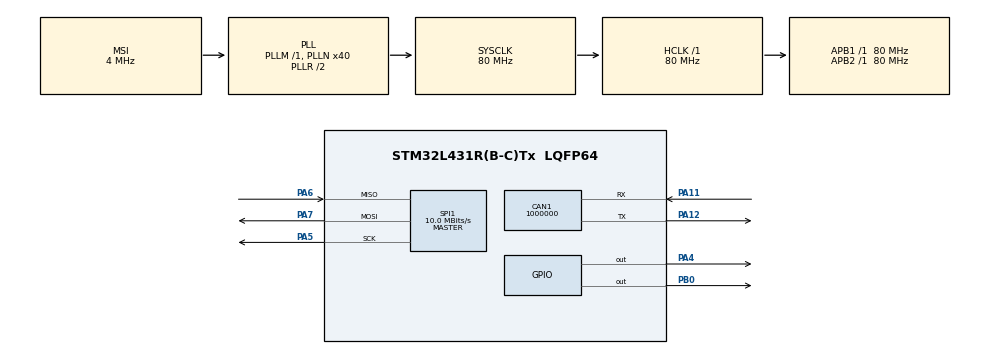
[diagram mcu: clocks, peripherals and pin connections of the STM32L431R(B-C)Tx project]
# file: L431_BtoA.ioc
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CAN1.BS1=CAN_BS1_2TQ
CAN1.BS2=CAN_BS2_2TQ
CAN1.CalculateBaudRate=1000000
CAN1.CalculateTimeBit=1000
CAN1.CalculateTimeQuantum=200.0
LPTIM1.ClockPrescaler=LPTIM_PRESCALER_DIV1
Mcu.Family=STM32L4
Mcu.Name=STM32L431R(B-C)Tx
Mcu.Package=LQFP64
NVIC.LPTIM1_IRQn=true\:0\:0\:false\:false\:true\:true\:true\:true
NVIC.PriorityGroup=NVIC_PRIORITYGROUP_4
NVIC.TIM2_IRQn=true\:0\:0\:false\:false\:true\:true\:true\:true
NVIC.TIM6_DAC_IRQn=true\:0\:0\:false\:false\:true\:true\:true\:true
NVIC.TIM7_IRQn=true\:0\:0\:false\:false\:true\:true\:true\:true
PA11.Mode=CAN_Activate
PA11.Signal=CAN1_RX
PA12.Mode=CAN_Activate
PA12.Signal=CAN1_TX
PA13\ (JTMS-SWDIO).Mode=Serial_Wire
PA13\ (JTMS-SWDIO).Signal=SYS_JTMS-SWDIO
PA14\ (JTCK-SWCLK).Mode=Serial_Wire
PA14\ (JTCK-SWCLK).Signal=SYS_JTCK-SWCLK
PA4.Signal=GPIO_Output
PA5.Mode=Full_Duplex_Master
PA5.Signal=SPI1_SCK
PA6.Mode=Full_Duplex_Master
PA6.Signal=SPI1_MISO
PA7.Mode=Full_Duplex_Master
PA7.Signal=SPI1_MOSI
PB0.Signal=GPIO_Output
PH0-OSC_IN\ (PH0).Mode=HSE-External-Oscillator
PH0-OSC_IN\ (PH0).Signal=RCC_OSC_IN
PH1-OSC_OUT\ (PH1).Mode=HSE-External-Oscillator
PH1-OSC_OUT\ (PH1).Signal=RCC_OSC_OUT
ProjectManager.HeapSize=0x200
ProjectManager.StackSize=0x400
ProjectManager.TargetToolchain=MDK-ARM V5.32
RCC.ADCFreq_Value=16000000
RCC.AHBFreq_Value=80000000
RCC.APB1Freq_Value=80000000
RCC.APB1TimFreq_Value=80000000
RCC.APB2Freq_Value=80000000
RCC.APB2TimFreq_Value=80000000
RCC.CortexFreq_Value=80000000
RCC.HCLKFreq_Value=80000000
RCC.HSE_VALUE=8000000
RCC.HSI48_VALUE=48000000
RCC.HSI_VALUE=16000000
RCC.LPTIM1CLockSelection=RCC_LPTIM1CLKSOURCE_LSI
RCC.LSE_VALUE=32768
RCC.MSI_VALUE=4000000
RCC.PLLN=40
RCC.SYSCLKFreq_VALUE=80000000
RCC.SYSCLKSource=RCC_SYSCLKSOURCE_PLLCLK
RCC.VCOOutputFreq_Value=160000000
SPI1.BaudRatePrescaler=SPI_BAUDRATEPRESCALER_8
SPI1.CLKPhase=SPI_PHASE_2EDGE
SPI1.CLKPolarity=SPI_POLARITY_HIGH
SPI1.CalculateBaudRate=10.0 MBits/s
SPI1.DataSize=SPI_DATASIZE_8BIT
SPI1.Direction=SPI_DIRECTION_2LINES
SPI1.Mode=SPI_MODE_MASTER
SPI1.VirtualType=VM_MASTER
STMicroelectronics.X-CUBE-ALGOBUILD.1.4.0.LibraryCcDSPOoLibraryJjDSPOoLibrary=true
TIM16.ClockDivision=TIM_CLOCKDIVISION_DIV4
TIM16.Prescaler=65535
TIM16.RepetitionCounter=2
TIM2.Period=999
TIM2.Prescaler=79
TIM6.Period=999
TIM6.Prescaler=79
TIM7.Period=999
TIM7.Prescaler=79
VP_LPTIM1_VS_LPTIM_counterModeInternalClock.Mode=Counts__internal_clock_event_00
VP_STMicroelectronics.X-CUBE-ALGOBUILD_VS_DSPOoLibraryJjLibrary_1.4.0_1.4.0.Mode=DSPOoLibraryJjLibrary
VP_TIM16_VS_ClockSourceINT.Mode=Enable_Timer
VP_TIM2_VS_ClockSourceINT.Mode=Internal
VP_TIM6_VS_ClockSourceINT.Mode=Enable_Timer
VP_TIM7_VS_ClockSourceINT.Mode=Enable_Timer
VP_WWDG_VS_WWDG.Mode=WWDG_Activate
WWDG.Counter=127
WWDG.Prescaler=WWDG_PRESCALER_8
WWDG.Window=120
board=custom

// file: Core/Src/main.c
/* USER CODE BEGIN Header */
/**
  ******************************************************************************
  * @file           : main.c
  * @brief          : Main program body
  ******************************************************************************
  * @attention
  *
  * Copyright (c) 2026 STMicroelectronics.
  * All rights reserved.
  *
  * This software is licensed under terms that can be found in the LICENSE file
  * in the root directory of this software component.
  * If no LICENSE file comes with this software, it is provided AS-IS.
  *
  ******************************************************************************
  */
/* USER CODE END Header */
#include "main.h"
#include "can.h"
#include "lptim.h"
#include "spi.h"
#include "tim.h"
#include "wwdg.h"
#include "gpio.h"

/* USER CODE BEGIN Includes */
#include "task.h"
/* USER CODE END Includes */

void SystemClock_Config(void);

/* USER CODE BEGIN 0 */
int last_blink=0;
int blink=0;
int blink_times=0;
int blink_interval=250;
extern uint16_t CAN_ID;
/* USER CODE END 0 */

int main(void)
{

  /* MCU Configuration--------------------------------------------------------*/

  /* Reset of all peripherals, Initializes the Flash interface and the Systick. */
  HAL_Init();

  /* Configure the system clock */
  SystemClock_Config();

  /* Initialize all configured peripherals */
  MX_GPIO_Init();
  MX_CAN1_Init();
  MX_LPTIM1_Init();
  MX_SPI1_Init();
  MX_TIM2_Init();
  MX_TIM6_Init();
  MX_TIM7_Init();
  MX_TIM16_Init();
  //MX_WWDG_Init();
  /* USER CODE BEGIN 2 */
   Task_Init();
	int cnt16=0,last_cnt16=0;
  /* USER CODE END 2 */

  /* Infinite loop */
  while (1)
  {

    /* USER CODE BEGIN 3 */
		cnt16=htim16.Instance->CNT;
		if(cnt16>60000){htim16.Instance->CNT=0;cnt16=0;last_cnt16=0;}
		if(cnt16%340==0){
			for(int i=1;i<=CAN_ID-0XCF;i++){
				cnt16=htim16.Instance->CNT;
			HAL_GPIO_WritePin(GPIOB,GPIO_PIN_0,GPIO_PIN_SET);
				while(cnt16-last_cnt16<=10||cnt16-last_cnt16>=60000){cnt16=htim16.Instance->CNT;}
				last_cnt16=cnt16;
				HAL_GPIO_WritePin(GPIOB,GPIO_PIN_0,GPIO_PIN_RESET);
				while(cnt16-last_cnt16<=blink_interval){cnt16=htim16.Instance->CNT;}
				last_cnt16=cnt16;
			}
	//	htim16.Instance->CNT=341;
	}else{
			HAL_GPIO_WritePin(GPIOB,GPIO_PIN_0,GPIO_PIN_RESET);
	}
  }
  /* USER CODE END 3 */
}

void SystemClock_Config(void)
{
  RCC_OscInitTypeDef RCC_OscInitStruct = {0};
  RCC_ClkInitTypeDef RCC_ClkInitStruct = {0};

  /** Configure the main internal regulator output voltage
  */
  if (HAL_PWREx_ControlVoltageScaling(PWR_REGULATOR_VOLTAGE_SCALE1) != HAL_OK)
  {
    Error_Handler();
  }

  /** Initializes the RCC Oscillators according to the specified parameters
  * in the RCC_OscInitTypeDef structure.
  */
  RCC_OscInitStruct.OscillatorType = RCC_OSCILLATORTYPE_LSI|RCC_OSCILLATORTYPE_MSI;
  RCC_OscInitStruct.LSIState = RCC_LSI_ON;
  RCC_OscInitStruct.MSIState = RCC_MSI_ON;
  RCC_OscInitStruct.MSICalibrationValue = 0;
  RCC_OscInitStruct.MSIClockRange = RCC_MSIRANGE_6;
  RCC_OscInitStruct.PLL.PLLState = RCC_PLL_ON;
  RCC_OscInitStruct.PLL.PLLSource = RCC_PLLSOURCE_MSI;
  RCC_OscInitStruct.PLL.PLLM = 1;
  RCC_OscInitStruct.PLL.PLLN = 40;
  RCC_OscInitStruct.PLL.PLLP = RCC_PLLP_DIV7;
  RCC_OscInitStruct.PLL.PLLQ = RCC_PLLQ_DIV2;
  RCC_OscInitStruct.PLL.PLLR = RCC_PLLR_DIV2;
  if (HAL_RCC_OscConfig(&RCC_OscInitStruct) != HAL_OK)
  {
    Error_Handler();
  }

  /** Initializes the CPU, AHB and APB buses clocks
  */
  RCC_ClkInitStruct.ClockType = RCC_CLOCKTYPE_HCLK|RCC_CLOCKTYPE_SYSCLK
                              |RCC_CLOCKTYPE_PCLK1|RCC_CLOCKTYPE_PCLK2;
  RCC_ClkInitStruct.SYSCLKSource = RCC_SYSCLKSOURCE_PLLCLK;
  RCC_ClkInitStruct.AHBCLKDivider = RCC_SYSCLK_DIV1;
  RCC_ClkInitStruct.APB1CLKDivider = RCC_HCLK_DIV1;
  RCC_ClkInitStruct.APB2CLKDivider = RCC_HCLK_DIV1;

  if (HAL_RCC_ClockConfig(&RCC_ClkInitStruct, FLASH_LATENCY_4) != HAL_OK)
  {
    Error_Handler();
  }
}

void Error_Handler(void)
{
  __disable_irq();
  while (1)
  {
  }
}
